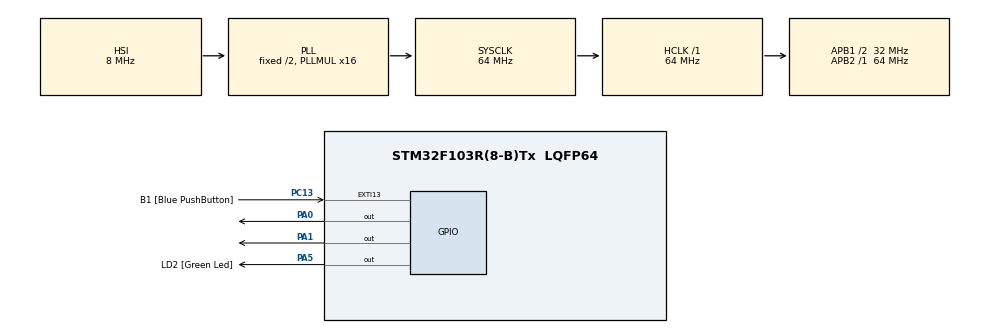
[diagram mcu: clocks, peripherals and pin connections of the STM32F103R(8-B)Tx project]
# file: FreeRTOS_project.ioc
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Mcu.Family=STM32F1
Mcu.Name=STM32F103R(8-B)Tx
Mcu.Package=LQFP64
NVIC.EXTI15_10_IRQn=true\:0\:0\:false\:false\:false\:true\:true\:true
NVIC.PriorityGroup=NVIC_PRIORITYGROUP_4
NVIC.TIM2_IRQn=true\:15\:0\:false\:false\:true\:false\:true\:true
NVIC.TimeBase=TIM2_IRQn
NVIC.TimeBaseIP=TIM2
PA0-WKUP.Signal=GPIO_Output
PA1.Signal=GPIO_Output
PA13.GPIO_Label=TMS
PA13.Mode=Serial_Wire
PA13.Signal=SYS_JTMS-SWDIO
PA14.GPIO_Label=TCK
PA14.Mode=Serial_Wire
PA14.Signal=SYS_JTCK-SWCLK
PA2.GPIO_Label=USART_TX
PA2.GPIO_Mode=GPIO_MODE_AF_PP
PA2.GPIO_PuPd=GPIO_NOPULL
PA2.GPIO_Speed=GPIO_SPEED_FREQ_LOW
PA2.Signal=USART2_TX
PA3.GPIO_Label=USART_RX
PA3.GPIO_Mode=GPIO_MODE_AF_PP
PA3.GPIO_PuPd=GPIO_NOPULL
PA3.GPIO_Speed=GPIO_SPEED_FREQ_LOW
PA3.Signal=USART2_RX
PA5.GPIO_Label=LD2 [Green Led]
PA5.GPIO_ModeDefaultOutputPP=GPIO_MODE_OUTPUT_PP
PA5.GPIO_PuPd=GPIO_NOPULL
PA5.GPIO_Speed=GPIO_SPEED_FREQ_LOW
PA5.Signal=GPIO_Output
PB3.GPIO_Label=SWO
PB3.Signal=SYS_JTDO-TRACESWO
PC13-TAMPER-RTC.GPIO_Label=B1 [Blue PushButton]
PC13-TAMPER-RTC.GPIO_ModeDefaultEXTI=GPIO_MODE_IT_FALLING
PC13-TAMPER-RTC.GPIO_PuPd=GPIO_NOPULL
PC13-TAMPER-RTC.Signal=GPXTI13
PC14-OSC32_IN.Signal=RCC_OSC32_IN
PC15-OSC32_OUT.Signal=RCC_OSC32_OUT
PD0-OSC_IN.Signal=RCC_OSC_IN
PD1-OSC_OUT.Signal=RCC_OSC_OUT
ProjectManager.HeapSize=0x200
ProjectManager.StackSize=0x400
ProjectManager.TargetToolchain=STM32CubeIDE
RCC.AHBFreq_Value=64000000
RCC.APB1CLKDivider=RCC_HCLK_DIV2
RCC.APB1Freq_Value=32000000
RCC.APB1TimFreq_Value=64000000
RCC.APB2Freq_Value=64000000
RCC.APB2TimFreq_Value=64000000
RCC.HCLKFreq_Value=64000000
RCC.PLLMUL=RCC_PLL_MUL16
RCC.SYSCLKFreq_VALUE=64000000
RCC.SYSCLKSource=RCC_SYSCLKSOURCE_PLLCLK
RCC.USBFreq_Value=64000000
VP_SYS_VS_tim2.Mode=TIM2
board=NUCLEO-F103RB

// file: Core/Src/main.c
/* USER CODE BEGIN Header */
/**
  ******************************************************************************
  * @file           : main.c
  * @brief          : Main program body
  ******************************************************************************
  * @attention
  *
  * Copyright (c) 2026 STMicroelectronics.
  * All rights reserved.
  *
  * This software is licensed under terms that can be found in the LICENSE file
  * in the root directory of this software component.
  * If no LICENSE file comes with this software, it is provided AS-IS.
  *
  ******************************************************************************
  */
/* USER CODE END Header */
#include "main.h"

/* USER CODE BEGIN Includes */
#include "FreeRTOS.h"
#include "task.h"
#include<stdlib.h>
/* USER CODE END Includes */

void SystemClock_Config(void);
static void MX_GPIO_Init(void);
/* USER CODE BEGIN PFP */
static void Task1_Handler(void *parameters);
static void Task2_Handler(void *parameters);
/* USER CODE END PFP */

int main(void)
{

  /* USER CODE BEGIN 1 */
	TaskHandle_t Handle_1;
	TaskHandle_t Handle_2;
	BaseType_t status;
  /* USER CODE END 1 */

  /* MCU Configuration--------------------------------------------------------*/

  /* Reset of all peripherals, Initializes the Flash interface and the Systick. */
  HAL_Init();

  /* Configure the system clock */
  SystemClock_Config();

  /* Initialize all configured peripherals */
  MX_GPIO_Init();
  /* USER CODE BEGIN 2 */
  HAL_NVIC_SetPriorityGrouping( NVIC_PRIORITYGROUP_4 );

  //set CYCCNT counter
#define DWT_CTRL (*(volatile uint32_t *)0xE0001000)

  	  DWT_CTRL |= (1<<0);

  	  SEGGER_SYSVIEW_Conf();

  	  SEGGER_SYSVIEW_Start();

  status = xTaskCreate(Task1_Handler, "Task_1", 128, NULL, 2, &Handle_1);
  configASSERT(status == pdPASS);

  status = xTaskCreate(Task2_Handler, "Task_2", 128, NULL, 2, &Handle_2);
  configASSERT(status == pdPASS);

  (void)status;

  //Start the scheduler
  vTaskStartScheduler();

  //if control reaches this point, that means that launch of the scheduler has failed due to insufficient memory in the heap
  /* USER CODE END 2 */

  /* Infinite loop */
  while (1)
  {

  }
}

void SystemClock_Config(void)
{
  RCC_OscInitTypeDef RCC_OscInitStruct = {0};
  RCC_ClkInitTypeDef RCC_ClkInitStruct = {0};

  /** Initializes the RCC Oscillators according to the specified parameters
  * in the RCC_OscInitTypeDef structure.
  */
  RCC_OscInitStruct.OscillatorType = RCC_OSCILLATORTYPE_HSI;
  RCC_OscInitStruct.HSIState = RCC_HSI_ON;
  RCC_OscInitStruct.HSICalibrationValue = RCC_HSICALIBRATION_DEFAULT;
  RCC_OscInitStruct.PLL.PLLState = RCC_PLL_ON;
  RCC_OscInitStruct.PLL.PLLSource = RCC_PLLSOURCE_HSI_DIV2;
  RCC_OscInitStruct.PLL.PLLMUL = RCC_PLL_MUL16;
  if (HAL_RCC_OscConfig(&RCC_OscInitStruct) != HAL_OK)
  {
    Error_Handler();
  }

  /** Initializes the CPU, AHB and APB buses clocks
  */
  RCC_ClkInitStruct.ClockType = RCC_CLOCKTYPE_HCLK|RCC_CLOCKTYPE_SYSCLK
                              |RCC_CLOCKTYPE_PCLK1|RCC_CLOCKTYPE_PCLK2;
  RCC_ClkInitStruct.SYSCLKSource = RCC_SYSCLKSOURCE_PLLCLK;
  RCC_ClkInitStruct.AHBCLKDivider = RCC_SYSCLK_DIV1;
  RCC_ClkInitStruct.APB1CLKDivider = RCC_HCLK_DIV2;
  RCC_ClkInitStruct.APB2CLKDivider = RCC_HCLK_DIV1;

  if (HAL_RCC_ClockConfig(&RCC_ClkInitStruct, FLASH_LATENCY_2) != HAL_OK)
  {
    Error_Handler();
  }
}

static void MX_GPIO_Init(void)
{
  GPIO_InitTypeDef GPIO_InitStruct = {0};

  /* GPIO Ports Clock Enable */
  __HAL_RCC_GPIOC_CLK_ENABLE();
  __HAL_RCC_GPIOD_CLK_ENABLE();
  __HAL_RCC_GPIOA_CLK_ENABLE();
  __HAL_RCC_GPIOB_CLK_ENABLE();

  /*Configure GPIO pin Output Level */
  HAL_GPIO_WritePin(GPIOA, GPIO_PIN_0|GPIO_PIN_1|LD2_Pin, GPIO_PIN_RESET);

  /*Configure GPIO pin : B1_Pin */
  GPIO_InitStruct.Pin = B1_Pin;
  GPIO_InitStruct.Mode = GPIO_MODE_IT_FALLING;
  GPIO_InitStruct.Pull = GPIO_NOPULL;
  HAL_GPIO_Init(B1_GPIO_Port, &GPIO_InitStruct);

  /*Configure GPIO pins : PA0 PA1 LD2_Pin */
  GPIO_InitStruct.Pin = GPIO_PIN_0|GPIO_PIN_1|LD2_Pin;
  GPIO_InitStruct.Mode = GPIO_MODE_OUTPUT_PP;
  GPIO_InitStruct.Pull = GPIO_NOPULL;
  GPIO_InitStruct.Speed = GPIO_SPEED_FREQ_LOW;
  HAL_GPIO_Init(GPIOA, &GPIO_InitStruct);

  /*Configure GPIO pins : USART_TX_Pin USART_RX_Pin */
  GPIO_InitStruct.Pin = USART_TX_Pin|USART_RX_Pin;
  GPIO_InitStruct.Mode = GPIO_MODE_AF_PP;
  GPIO_InitStruct.Speed = GPIO_SPEED_FREQ_LOW;
  HAL_GPIO_Init(GPIOA, &GPIO_InitStruct);

  /* EXTI interrupt init*/
  HAL_NVIC_SetPriority(EXTI15_10_IRQn, 0, 0);
  HAL_NVIC_EnableIRQ(EXTI15_10_IRQn);

}

/* USER CODE BEGIN 4 */
static void Task1_Handler(void *parameters)
{
	while(1)
	{
		HAL_GPIO_TogglePin(GPIOA, GPIO_PIN_0);
		vTaskDelay(pdMS_TO_TICKS(1000));
		//taskYIELD(); //if configUSE_PREEMPTION is 0 meaning scheduler is cooperative mode, we give up the CPU ourselves after completion

	}
}

static void Task2_Handler(void *parameters)
{
	while(1)
	{
		HAL_GPIO_TogglePin(GPIOA, GPIO_PIN_1);
		vTaskDelay(pdMS_TO_TICKS(2000));
		//taskYIELD();
	}
}

/* USER CODE END 4 */

void HAL_TIM_PeriodElapsedCallback(TIM_HandleTypeDef *htim)
{
  if (htim->Instance == TIM2)
  {
    HAL_IncTick();
  }
}

void Error_Handler(void)
{
  __disable_irq();
  while (1)
  {
  }
}
